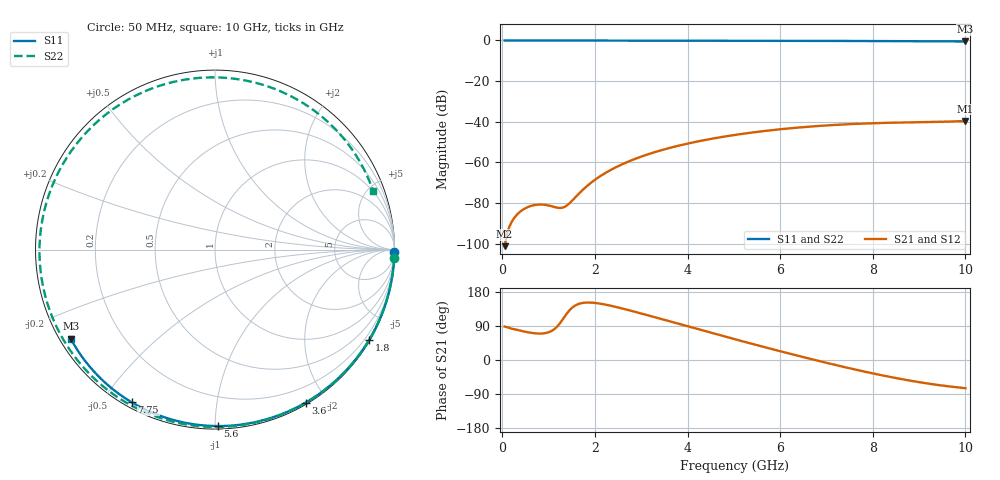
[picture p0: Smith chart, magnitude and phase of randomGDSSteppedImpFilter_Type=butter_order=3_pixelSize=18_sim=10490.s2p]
! freq	dB(S11)	phase(S11)	dB(S12)	phase(S12)
!  dB(S21)	phase(S21)	dB(S22)	phase(S22)
!S-par simulation data
#  GHz  S  DB  R 50
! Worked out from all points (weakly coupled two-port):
!   200 points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, 50 MHz to 10 GHz, reference 50 ohm
!   highest |S21| = -39.64 dB at 10 GHz (marker M1); lowest = -101.3 dB at 50 MHz (marker M2)
!   lowest |S11| = -0.5 dB at 10 GHz (marker M3), VSWR 35.22, Z = 1.53 - j14.2 ohm
!   |S11| at or under -10 dB: nowhere
!   |S22| runs from -0.5 to 0.0 dB; largest |S21 - S12| = 0
!   S11 on the Smith chart (normalised r, x): 50 MHz: open; 1.8 GHz: 0.03, -3.67; 3.6 GHz: 0.02, -1.75; 5.6 GHz: 0.02, -1.02; 7.75 GHz: 0.02, -0.59; 10 GHz: 0.03, -0.28
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0.05  -0.00 -0.9  -101.27 88.3  -101.27 88.3  -0.00 -2.6
0.35  -0.01 -6.0  -84.99 78.5  -84.99 78.5  -0.02 -17.9
0.65  -0.01 -11.1  -81.26 71.2  -81.26 71.2  -0.04 -32.9
1.05  -0.02 -17.9  -81.51 75.8  -81.51 75.8  -0.06 -52.2
1.45  -0.03 -24.6  -80.17 131.0  -80.17 131.0  -0.08 -70.3
1.75  -0.04 -29.6  -73.30 150.8  -73.30 150.8  -0.09 -83.2
1.8  -0.04 -30.4  -72.26 151.4  -72.26 151.4  -0.10 -85.2
2.1  -0.04 -35.4  -67.03 148.9  -67.03 148.9  -0.11 -97.2
2.45  -0.05 -41.1  -62.45 140.2  -62.45 140.2  -0.12 -110.4
2.95  -0.06 -49.1  -57.59 124.4  -57.59 124.4  -0.13 -127.8
3.4  -0.07 -56.2  -54.25 109.3  -54.25 109.3  -0.15 -142.3
3.6  -0.08 -59.4  -52.99 102.5  -52.99 102.5  -0.15 -148.5
4.3  -0.10 -70.1  -49.34 78.8  -49.34 78.8  -0.18 -169.1
5.05  -0.12 -81.2  -46.41 53.8  -46.41 53.8  -0.21 169.9
5.6  -0.15 -89.1  -44.74 35.9  -44.74 35.9  -0.24 154.8
6.7  -0.20 -104.4  -42.31 1.5  -42.31 1.5  -0.29 124.3
7.25  -0.24 -111.9  -41.49 -14.7  -41.49 -14.7  -0.32 108.4
7.75  -0.27 -118.6  -40.95 -28.7  -40.95 -28.7  -0.35 93.4
8.35  -0.32 -126.5  -40.53 -44.1  -40.53 -44.1  -0.39 74.8
9.1  -0.39 -136.4  -40.21 -60.4  -40.21 -60.4  -0.44 50.4
9.55  -0.44 -142.3  -40.00 -68.2  -40.00 -68.2  -0.49 35.4
10  -0.49 -148.3  -39.64 -74.4  -39.64 -74.4  -0.54 20.2
